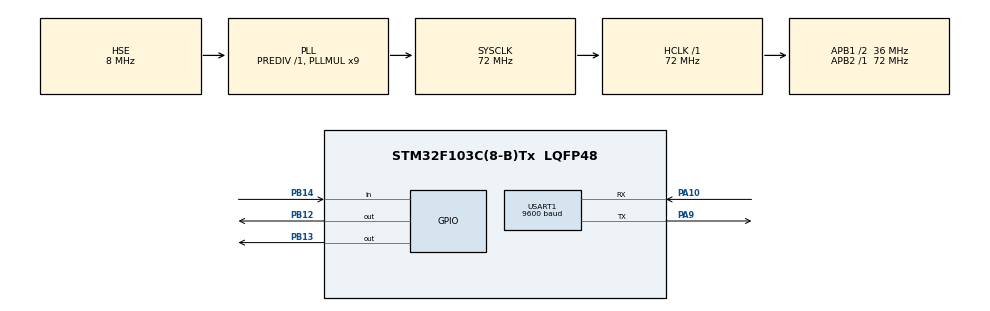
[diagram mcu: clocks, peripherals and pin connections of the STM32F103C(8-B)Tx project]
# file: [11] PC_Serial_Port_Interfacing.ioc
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Mcu.Family=STM32F1
RCC.PLLSourceVirtual=RCC_PLLSOURCE_HSE
PD1-OSC_OUT.Mode=HSE-External-Oscillator
PA10.Mode=Asynchronous
USART1.BaudRate=9600
PD0-OSC_IN.Signal=RCC_OSC_IN
RCC.APB1CLKDivider=RCC_HCLK_DIV2
VP_SYS_VS_ND.Mode=No_Debug
PB13.Signal=GPIO_Output
RCC.SYSCLKSource=RCC_SYSCLKSOURCE_PLLCLK
ProjectManager.StackSize=0x400
PD1-OSC_OUT.Signal=RCC_OSC_OUT
PA9.Mode=Asynchronous
ProjectManager.TargetToolchain=STM32CubeIDE
RCC.HCLKFreq_Value=72000000
RCC.APB2TimFreq_Value=72000000
PA9.Signal=USART1_TX
RCC.USBFreq_Value=72000000
RCC.AHBFreq_Value=72000000
PD0-OSC_IN.Mode=HSE-External-Oscillator
PB14.Signal=GPIO_Input
board=custom
RCC.PLLMUL=RCC_PLL_MUL9
RCC.APB2Freq_Value=72000000
Mcu.Name=STM32F103C(8-B)Tx
RCC.SYSCLKFreq_VALUE=72000000
Mcu.Package=LQFP48
USART1.VirtualMode=VM_ASYNC
PA10.Signal=USART1_RX
ProjectManager.HeapSize=0x200
NVIC.PriorityGroup=NVIC_PRIORITYGROUP_4
RCC.APB1TimFreq_Value=72000000
NVIC.USART1_IRQn=true\:0\:0\:false\:false\:true\:true\:true
RCC.APB1Freq_Value=36000000
PB12.Signal=GPIO_Output

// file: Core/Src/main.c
/* USER CODE BEGIN Header */
/**
  ******************************************************************************
  * @file           : main.c
  * @brief          : Main program body
  ******************************************************************************
  * @attention
  *
  * <h2><center>&copy; Copyright (c) 2020 STMicroelectronics.
  * All rights reserved.</center></h2>
  *
  * This software component is licensed by ST under BSD 3-Clause license,
  * the "License"; You may not use this file except in compliance with the
  * License. You may obtain a copy of the License at:
  *                        opensource.org/licenses/BSD-3-Clause
  *
  ******************************************************************************
  */
/* USER CODE END Header */
#include "main.h"

UART_HandleTypeDef huart1;

void SystemClock_Config(void);
static void MX_GPIO_Init(void);
static void MX_USART1_UART_Init(void);

/* USER CODE BEGIN 0 */
uint8_t RX1_Char = 0x00;

void HAL_USART_Rx_CpltCallback(UART_HandleTypeDef * huart)
{
	HAL_UART_Receive_IT(&huart1, &RX1_Char, 1);
}
/* USER CODE END 0 */

int main(void)
{
  /* USER CODE BEGIN 1 */
	uint8_t MSG1[] = "Button State: Released\r\n";
	uint8_t MSG2[] = "Button State: Pressed\r\n";
  /* USER CODE END 1 */

  /* MCU Configuration--------------------------------------------------------*/

  /* Reset of all peripherals, Initializes the Flash interface and the Systick. */
  HAL_Init();

  /* Configure the system clock */
  SystemClock_Config();

  /* Initialize all configured peripherals */
  MX_GPIO_Init();
  MX_USART1_UART_Init();
  /* USER CODE BEGIN 2 */
  MX_USART1_UART_Init();
  HAL_UART_Receive_IT(&huart1, &RX1_Char, 1);
  /* USER CODE END 2 */

  /* Infinite loop */
  while (1)
  {

    /* USER CODE BEGIN 3 */
	  if(HAL_GPIO_ReadPin(GPIOB, GPIO_PIN_14))
	  {
		  HAL_UART_Transmit(&huart1, MSG2, sizeof(MSG2), 100);
	  }
	  else
	  {
		  HAL_UART_Transmit(&huart1, MSG1, sizeof(MSG1), 100);
	  }

	  if(RX1_Char == '1')
	  {
		  HAL_GPIO_TogglePin(GPIOB, GPIO_PIN_12);
		  HAL_UART_Receive_IT(&huart1, &RX1_Char, 1);
		  RX1_Char = 0x00;
	  }
	  if(RX1_Char == '2')
	  {
		  HAL_GPIO_TogglePin(GPIOB, GPIO_PIN_13);
		  HAL_UART_Receive_IT(&huart1, &RX1_Char, 1);
		  RX1_Char = 0x00;
	  }
	  HAL_Delay(100);
  }
  /* USER CODE END 3 */
}

void SystemClock_Config(void)
{
  RCC_OscInitTypeDef RCC_OscInitStruct = {0};
  RCC_ClkInitTypeDef RCC_ClkInitStruct = {0};

  /** Initializes the RCC Oscillators according to the specified parameters
  * in the RCC_OscInitTypeDef structure.
  */
  RCC_OscInitStruct.OscillatorType = RCC_OSCILLATORTYPE_HSE;
  RCC_OscInitStruct.HSEState = RCC_HSE_ON;
  RCC_OscInitStruct.HSEPredivValue = RCC_HSE_PREDIV_DIV1;
  RCC_OscInitStruct.HSIState = RCC_HSI_ON;
  RCC_OscInitStruct.PLL.PLLState = RCC_PLL_ON;
  RCC_OscInitStruct.PLL.PLLSource = RCC_PLLSOURCE_HSE;
  RCC_OscInitStruct.PLL.PLLMUL = RCC_PLL_MUL9;
  if (HAL_RCC_OscConfig(&RCC_OscInitStruct) != HAL_OK)
  {
    Error_Handler();
  }
  /** Initializes the CPU, AHB and APB buses clocks
  */
  RCC_ClkInitStruct.ClockType = RCC_CLOCKTYPE_HCLK|RCC_CLOCKTYPE_SYSCLK
                              |RCC_CLOCKTYPE_PCLK1|RCC_CLOCKTYPE_PCLK2;
  RCC_ClkInitStruct.SYSCLKSource = RCC_SYSCLKSOURCE_PLLCLK;
  RCC_ClkInitStruct.AHBCLKDivider = RCC_SYSCLK_DIV1;
  RCC_ClkInitStruct.APB1CLKDivider = RCC_HCLK_DIV2;
  RCC_ClkInitStruct.APB2CLKDivider = RCC_HCLK_DIV1;

  if (HAL_RCC_ClockConfig(&RCC_ClkInitStruct, FLASH_LATENCY_2) != HAL_OK)
  {
    Error_Handler();
  }
}

static void MX_USART1_UART_Init(void)
{

  huart1.Instance = USART1;
  huart1.Init.BaudRate = 9600;
  huart1.Init.WordLength = UART_WORDLENGTH_8B;
  huart1.Init.StopBits = UART_STOPBITS_1;
  huart1.Init.Parity = UART_PARITY_NONE;
  huart1.Init.Mode = UART_MODE_TX_RX;
  huart1.Init.HwFlowCtl = UART_HWCONTROL_NONE;
  huart1.Init.OverSampling = UART_OVERSAMPLING_16;
  if (HAL_UART_Init(&huart1) != HAL_OK)
  {
    Error_Handler();
  }

}

static void MX_GPIO_Init(void)
{
  GPIO_InitTypeDef GPIO_InitStruct = {0};

  /* GPIO Ports Clock Enable */
  __HAL_RCC_GPIOD_CLK_ENABLE();
  __HAL_RCC_GPIOB_CLK_ENABLE();
  __HAL_RCC_GPIOA_CLK_ENABLE();

  /*Configure GPIO pin Output Level */
  HAL_GPIO_WritePin(GPIOB, GPIO_PIN_12|GPIO_PIN_13, GPIO_PIN_RESET);

  /*Configure GPIO pins : PB12 PB13 */
  GPIO_InitStruct.Pin = GPIO_PIN_12|GPIO_PIN_13;
  GPIO_InitStruct.Mode = GPIO_MODE_OUTPUT_PP;
  GPIO_InitStruct.Pull = GPIO_NOPULL;
  GPIO_InitStruct.Speed = GPIO_SPEED_FREQ_LOW;
  HAL_GPIO_Init(GPIOB, &GPIO_InitStruct);

  /*Configure GPIO pin : PB14 */
  GPIO_InitStruct.Pin = GPIO_PIN_14;
  GPIO_InitStruct.Mode = GPIO_MODE_INPUT;
  GPIO_InitStruct.Pull = GPIO_NOPULL;
  HAL_GPIO_Init(GPIOB, &GPIO_InitStruct);

}

void Error_Handler(void)
{
}

/************************ (C) COPYRIGHT STMicroelectronics *****END OF FILE****/
